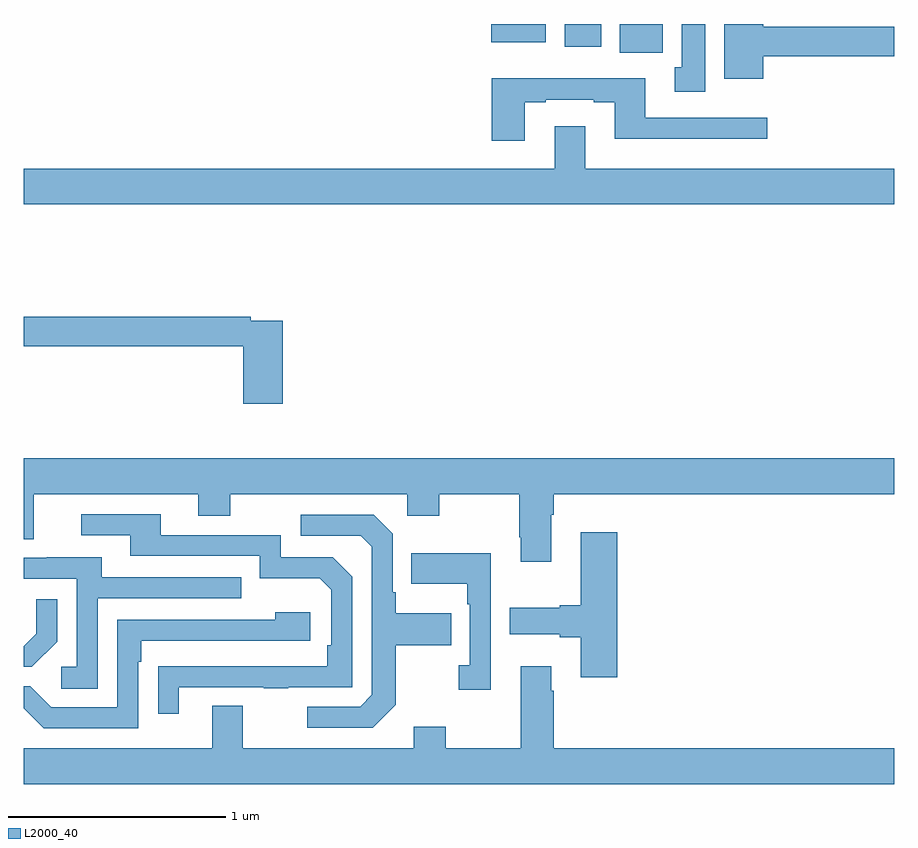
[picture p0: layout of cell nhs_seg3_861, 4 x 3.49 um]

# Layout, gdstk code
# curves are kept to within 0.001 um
import gdstk
lib = gdstk.Library(unit=1e-6, precision=1e-09)
def R(c, l, rs):  # rectangles x0, y0, x1, y1
    for r in rs: c.add(gdstk.rectangle(r[:2], r[2:], *l))
def P(c, l, *ps):  # polygons
    for p in ps: c.add(gdstk.Polygon(p, *l))
L2000_40 = (2000, 40)

nhs_seg3_861 = lib.new_cell('nhs_seg3_861')
R(nhs_seg3_861, L2000_40, [(157.739,712.268,157.936,712.4), (157.487,712.296,157.654,712.4), (157.148,712.316,157.399,712.4)])
P(nhs_seg3_861, L2000_40, [(158.131,712.4),(158.024,712.4),(158.024,712.202),(157.991,712.202),(157.991,712.089),(158.131,712.089)],
  [(158.398,712.252),(159,712.252),(159,712.388),(158.398,712.388),(158.398,712.4),(158.219,712.4),(158.219,712.148),(158.398,712.148)],
  [(157.303,712.041),(157.399,712.041),(157.399,712.053),(157.619,712.053),(157.619,712.041),(157.715,712.041),(157.715,711.872),(158.416,711.872),(158.416,711.969),(157.855,711.969),(157.855,712.15),(157.151,712.15),(157.151,711.864),(157.303,711.864)],
  [(159,711.736),(157.579,711.736),(157.579,711.931),(157.439,711.931),(157.439,711.736),(155,711.736),(155,711.572),(159,711.572)],
  [(156.191,711.036),(156.044,711.036),(156.044,711.056),(155,711.056),(155,710.92),(156.008,710.92),(156.008,710.655),(156.191,710.655)],
  [(157.423,710.144),(157.436,710.144),(157.436,710.24),(159,710.24),(159,710.404),(155,710.404),(155,710.032),(155.047,710.032),(155.047,710.24),(155.801,710.24),(155.801,710.141),(155.949,710.141),(155.949,710.24),(156.762,710.24),(156.762,710.141),(156.909,710.141),(156.909,710.24),(157.276,710.24),(157.276,710.041),(157.283,710.041),(157.283,709.929),(157.423,709.929)],
  [(155.713,709.353),(156.103,709.353),(156.103,709.348),(156.215,709.348),(156.215,709.353),(156.51,709.353),(156.51,709.86),(156.42,709.95),(156.18,709.95),(156.18,710.052),(155.629,710.052),(155.629,710.148),(155.265,710.148),(155.265,710.052),(155.489,710.052),(155.489,709.956),(156.084,709.956),(156.084,709.853),(156.361,709.853),(156.414,709.8),(156.414,709.546),(156.394,709.546),(156.394,709.449),(155.617,709.448),(155.617,709.23),(155.713,709.23)],
  [(156.709,709.273),(156.709,709.546),(156.965,709.546),(156.965,709.693),(156.709,709.693),(156.709,709.789),(156.696,709.789),(156.696,710.058),(156.609,710.145),(156.273,710.145),(156.273,710.049),(156.549,710.049),(156.6,709.998),(156.6,709.317),(156.546,709.263),(156.303,709.263),(156.303,709.167),(156.603,709.167)],
  [(157.727,710.065),(157.559,710.065),(157.559,709.73),(157.463,709.73),(157.463,709.717),(157.233,709.717),(157.233,709.595),(157.463,709.595),(157.463,709.583),(157.559,709.583),(157.559,709.398),(157.727,709.398)],
  [(157.146,709.969),(156.781,709.969),(156.781,709.829),(157.038,709.829),(157.038,709.733),(157.05,709.733),(157.05,709.454),(156.999,709.454),(156.999,709.341),(157.146,709.341)],
  [(155.34,709.761),(155.999,709.761),(155.999,709.857),(155.359,709.857),(155.359,709.951),(155.105,709.951),(155.105,709.947),(155,709.947),(155,709.851),(155.244,709.851),(155.244,709.446),(155.172,709.446),(155.172,709.345),(155.34,709.345)],
  [(155.154,709.562),(155.154,709.756),(155.057,709.756),(155.057,709.599),(155,709.542),(155,709.446),(155.038,709.446)],
  [(155.526,709.469),(155.539,709.469),(155.539,709.566),(156.316,709.566),(156.316,709.696),(156.155,709.696),(156.155,709.662),(155.43,709.662),(155.43,709.26),(155.127,709.26),(155.031,709.356),(155,709.356),(155,709.255),(155.091,709.164),(155.526,709.164)],
  [(159,709.072),(157.436,709.072),(157.436,709.337),(157.423,709.337),(157.423,709.45),(157.283,709.45),(157.283,709.072),(156.939,709.072),(156.939,709.171),(156.791,709.171),(156.791,709.072),(156.007,709.072),(156.007,709.267),(155.867,709.267),(155.867,709.072),(155,709.072),(155,708.908),(159,708.908)])

lib.write_gds('nhs_seg3_861.gds')
